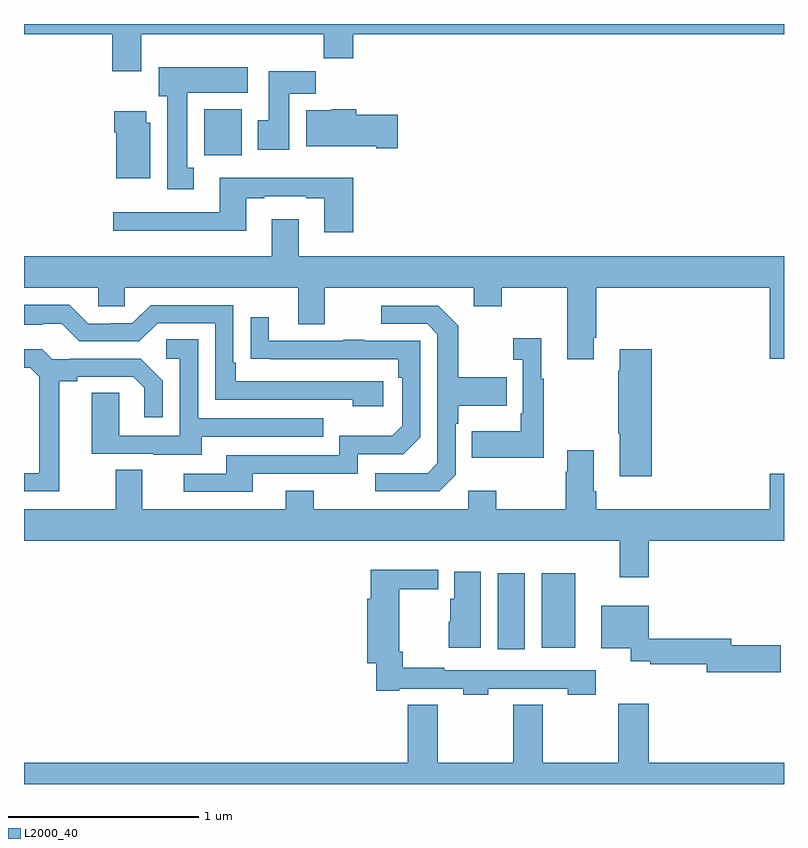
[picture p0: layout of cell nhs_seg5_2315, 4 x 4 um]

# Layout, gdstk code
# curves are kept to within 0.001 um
import gdstk
lib = gdstk.Library(unit=1e-6, precision=1e-09)
def R(c, l, rs):  # rectangles x0, y0, x1, y1
    for r in rs: c.add(gdstk.rectangle(r[:2], r[2:], *l))
def P(c, l, *ps):  # polygons
    for p in ps: c.add(gdstk.Polygon(p, *l))
L2000_40 = (2000, 40)

nhs_seg5_2315 = lib.new_cell('nhs_seg5_2315')
R(nhs_seg5_2315, L2000_40, [(247.493,869.508,247.636,869.908), (247.724,869.516,247.9,869.908), (245.948,872.108,246.145,872.35)])
P(nhs_seg5_2315, L2000_40, [(245.617,872.744),(246.577,872.744),(246.577,872.62),(246.734,872.62),(246.734,872.744),(249,872.744),(249,872.799),(245,872.799),(245,872.744),(245.465,872.744),(245.465,872.55),(245.617,872.55)],
  [(245.893,872.042),(245.86,872.042),(245.86,872.438),(246.178,872.438),(246.178,872.572),(245.708,872.572),(245.708,872.418),(245.753,872.418),(245.753,871.929),(245.893,871.929)],
  [(246.397,872.432),(246.536,872.432),(246.536,872.551),(246.287,872.551),(246.287,872.292),(246.23,872.292),(246.23,872.136),(246.397,872.136)],
  [(246.967,872.322),(246.749,872.322),(246.749,872.35),(246.618,872.35),(246.618,872.344),(246.485,872.344),(246.485,872.156),(246.854,872.156),(246.854,872.144),(246.967,872.144)],
  [(245.665,872.28),(245.644,872.28),(245.644,872.341),(245.474,872.341),(245.474,872.228),(245.486,872.228),(245.486,871.988),(245.665,871.988)],
  [(246.734,871.99),(246.029,871.99),(246.029,871.809),(245.469,871.809),(245.469,871.712),(246.169,871.712),(246.169,871.881),(246.265,871.881),(246.265,871.893),(246.485,871.893),(246.485,871.881),(246.581,871.881),(246.581,871.704),(246.734,871.704)],
  [(247.999,871.147),(248.012,871.147),(248.012,871.412),(248.924,871.412),(248.924,871.038),(249,871.038),(249,871.576),(246.445,871.576),(246.445,871.771),(246.305,871.771),(246.305,871.576),(245,871.576),(245,871.412),(245.391,871.412),(245.391,871.314),(245.529,871.314),(245.529,871.412),(246.443,871.412),(246.443,871.218),(246.583,871.218),(246.583,871.412),(247.367,871.412),(247.367,871.313),(247.515,871.313),(247.515,871.412),(247.859,871.412),(247.859,871.035),(247.999,871.035)],
  [(246.892,870.918),(246.115,870.918),(246.115,871.015),(246.102,871.015),(246.102,871.32),(245.667,871.32),(245.571,871.224),(245.453,871.224),(245.453,871.221),(245.337,871.221),(245.237,871.321),(245,871.321),(245,871.217),(245.099,871.217),(245.099,871.221),(245.199,871.221),(245.292,871.128),(245.607,871.128),(245.703,871.224),(246.006,871.224),(246.006,870.822),(246.731,870.822),(246.731,870.788),(246.892,870.788)],
  [(247.272,870.426),(247.272,870.695),(247.285,870.695),(247.285,870.791),(247.541,870.791),(247.541,870.939),(247.285,870.939),(247.285,871.211),(247.179,871.317),(246.879,871.317),(246.879,871.221),(247.122,871.221),(247.176,871.167),(247.176,870.486),(247.125,870.435),(246.849,870.435),(246.849,870.339),(247.185,870.339)],
  [(246.205,870.432),(246.756,870.432),(246.756,870.534),(246.996,870.534),(247.086,870.624),(247.086,871.131),(246.791,871.131),(246.791,871.136),(246.679,871.136),(246.679,871.131),(246.289,871.131),(246.289,871.255),(246.193,871.255),(246.193,871.036),(246.97,871.035),(246.97,870.938),(246.99,870.938),(246.99,870.684),(246.937,870.631),(246.66,870.631),(246.66,870.528),(246.065,870.528),(246.065,870.432),(245.841,870.432),(245.841,870.336),(246.205,870.336)],
  [(247.735,870.931),(247.723,870.931),(247.723,871.144),(247.575,871.144),(247.575,871.031),(247.626,871.031),(247.626,870.751),(247.614,870.751),(247.614,870.655),(247.357,870.655),(247.357,870.515),(247.735,870.515)],
  [(245.935,870.627),(246.575,870.627),(246.575,870.723),(245.916,870.723),(245.916,871.139),(245.748,871.139),(245.748,871.038),(245.82,871.038),(245.82,870.633),(245.502,870.633),(245.502,870.857),(245.357,870.857),(245.357,870.537),(245.681,870.537),(245.681,870.533),(245.935,870.533)],
  [(245.185,870.92),(245.281,870.92),(245.281,870.942),(245.576,870.942),(245.633,870.885),(245.633,870.729),(245.73,870.729),(245.73,870.922),(245.614,871.038),(245.242,871.038),(245.242,871.035),(245.148,871.035),(245.096,871.087),(245,871.087),(245,870.99),(245.034,870.99),(245.081,870.943),(245.081,870.435),(245,870.435),(245,870.339),(245.185,870.339)],
  [(248.303,871.087),(248.135,871.087),(248.135,870.974),(248.128,870.974),(248.128,870.643),(248.135,870.643),(248.135,870.42),(248.303,870.42)],
  [(248.288,870.08),(249,870.08),(249,870.433),(248.924,870.433),(248.924,870.244),(248.012,870.244),(248.012,870.34),(247.999,870.34),(247.999,870.556),(247.859,870.556),(247.859,870.443),(247.852,870.443),(247.852,870.244),(247.485,870.244),(247.485,870.343),(247.338,870.343),(247.338,870.244),(246.525,870.244),(246.525,870.343),(246.377,870.343),(246.377,870.244),(245.623,870.244),(245.623,870.452),(245.483,870.452),(245.483,870.244),(245,870.244),(245,870.08),(248.135,870.08),(248.135,869.886),(248.288,869.886)],
  [(247.443,869.301),(247.863,869.301),(247.863,869.269),(248.008,869.269),(248.008,869.397),(247.211,869.397),(247.211,869.41),(246.994,869.41),(246.994,869.494),(246.976,869.494),(246.976,869.824),(247.18,869.824),(247.18,869.926),(246.824,869.926),(246.824,869.775),(246.806,869.775),(246.806,869.435),(246.855,869.435),(246.855,869.289),(246.976,869.289),(246.976,869.301),(247.311,869.301),(247.311,869.269),(247.443,869.269)],
  [(247.405,869.917),(247.265,869.917),(247.265,869.775),(247.244,869.775),(247.244,869.652),(247.235,869.652),(247.235,869.516),(247.405,869.516)],
  [(248.983,869.528),(248.722,869.528),(248.722,869.564),(248.289,869.564),(248.289,869.737),(248.039,869.737),(248.039,869.513),(248.193,869.513),(248.193,869.446),(248.296,869.446),(248.296,869.428),(248.594,869.428),(248.594,869.386),(248.983,869.386)],
  [(249,868.912),(248.288,868.912),(248.288,869.221),(248.128,869.221),(248.128,868.912),(247.73,868.912),(247.73,869.216),(247.576,869.216),(247.576,868.912),(247.178,868.912),(247.178,869.216),(247.019,869.216),(247.019,868.912),(245,868.912),(245,868.799),(249,868.799)])

lib.write_gds('nhs_seg5_2315.gds')
